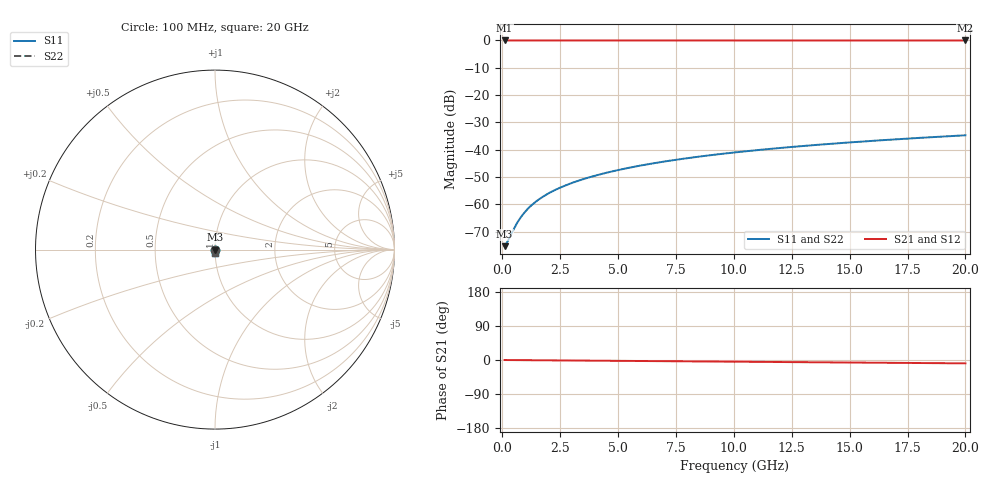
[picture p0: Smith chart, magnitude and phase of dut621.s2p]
! Touchstone file exported from HFSS 2026.1.0
!  File:  C:/ffzhzh/LocalFiles/Ansys_Project_Files/temp_train_TSV_621_1783025956_4048.aedt
!  Generated:  05:01:24 AM Jul  3, 2026
!  Design:  TSV
!  Project:  temp_train_TSV_621_1783025956_4048
! Variables:
!  h_bsmrdl = 2um
!  h_ox = 20um
!  h_rdl = 5um
!  h_sub = 92.9um
!  h_tmrdl = 5um
!  h_tsv = 92.9um
!  h_via = 3um
!  l_bsmrdl = 300um
!  l_sub = 418.5um
!  l_tmrdl = 200um
!  m_sub = 200um
!  pitch = 33.41um
!  r_tsv = 9.25um
!  s_tmrdl = 10um
!  w_bsmrdl = 18um
!  w_sub = 500um
!  w_tmrdl = 12um
!  x_tsv_center1 = 206um
!  x_tsv_center2 = 524um
!  x_tsv_center3 = 736um
!  x_tsv_center4 = 1054um
!  x_tsv_center5 = 1266um
!  x_tsv_center6 = 1584um
# GHz S MA R 50.000000
! Terminal data exported
! Port[1] = TSV1_1_T1
! Port[2] = TSV1_1_T2
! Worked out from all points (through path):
!   200 points, 100 MHz to 20 GHz, reference 50 ohm
!   highest |S21| = 0.00 dB at 100 MHz (marker M1); lowest = 0.0 dB at 20 GHz (marker M2)
!   group delay of S21, straight-line fit = 1.23 ps
!   lowest |S11| = -75.3 dB at 100 MHz (marker M3), VSWR 1.00, Z = 50 - j0.00377 ohm
!   |S11| at or under -10 dB: start of sweep to end of sweep
!   |S22| runs from -75.3 to -34.7 dB; largest |S21 - S12| = 2.3e-15
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0.1  0.000171 -12.7  0.9998 -0.0  0.9998 -0.0  0.000171 -12.7
! Gamma 0 0 0 0
! Port Impedance 50 0 50 0
0.2  0.0001983 -23.5  0.9998 -0.1  0.9998 -0.1  0.0001983 -23.5
0.5  0.0003573 -43.1  0.9997 -0.2  0.9997 -0.2  0.0003573 -43.1
0.7  0.0005012 -50.7  0.9997 -0.3  0.9997 -0.3  0.0005012 -50.7
0.8  0.0005789 -53.7  0.9997 -0.4  0.9997 -0.4  0.0005789 -53.7
1  0.0007407 -58.6  0.9996 -0.5  0.9996 -0.5  0.0007407 -58.6
1.3  0.0009912 -63.9  0.9996 -0.6  0.9996 -0.6  0.0009912 -63.9
1.5  0.00116 -66.6  0.9995 -0.7  0.9995 -0.7  0.00116 -66.6
1.7  0.001331 -68.7  0.9995 -0.8  0.9995 -0.8  0.001331 -68.8
2.2  0.001759 -72.6  0.9994 -1.0  0.9994 -1.0  0.001759 -72.6
2.8  0.002277 -75.7  0.9994 -1.3  0.9994 -1.3  0.002277 -75.7
3.5  0.002891 -78.0  0.9993 -1.6  0.9993 -1.6  0.002891 -78.0
4.2  0.003513 -79.7  0.9993 -1.9  0.9993 -1.9  0.003512 -79.7
5  0.004233 -81.2  0.9992 -2.2  0.9992 -2.2  0.004233 -81.2
5.9  0.005054 -82.5  0.9991 -2.6  0.9991 -2.6  0.005054 -82.5
6.8  0.005884 -83.7  0.999 -3.0  0.999 -3.0  0.005884 -83.7
8.3  0.007278 -85.3  0.9989 -3.7  0.9989 -3.7  0.007278 -85.3
10.1  0.008963 -87.0  0.9988 -4.5  0.9988 -4.5  0.008963 -87.0
11.7  0.01047 -88.3  0.9987 -5.2  0.9987 -5.2  0.01047 -88.3
13.4  0.01207 -89.6  0.9986 -5.9  0.9986 -5.9  0.01207 -89.6
16.7  0.01519 -91.8  0.9984 -7.4  0.9984 -7.4  0.01519 -91.8
20  0.01833 -93.7  0.9982 -8.9  0.9982 -8.9  0.01833 -93.7
